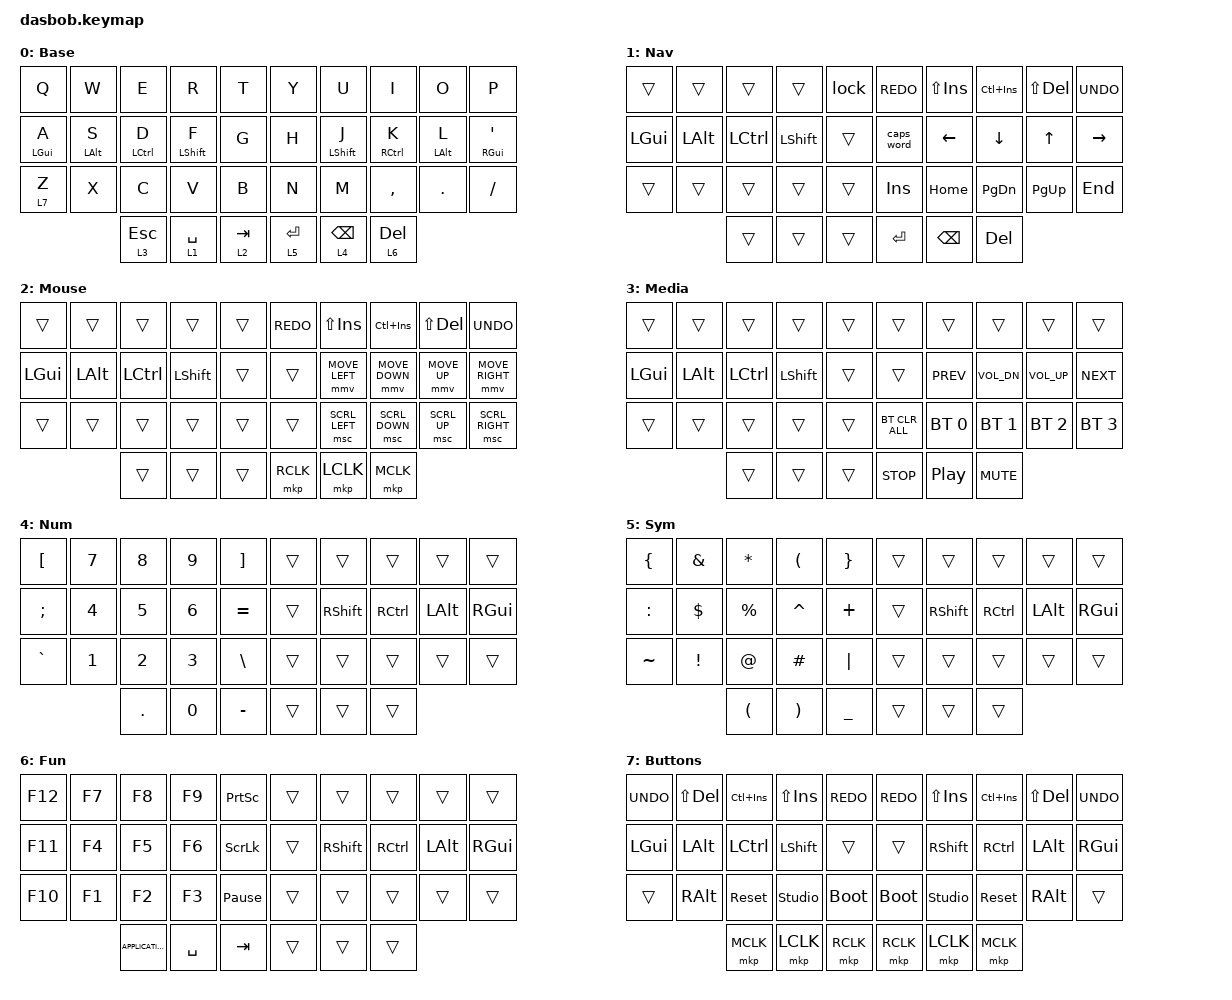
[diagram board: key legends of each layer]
#include <behaviors.dtsi>
#include <dt-bindings/zmk/bt.h>
#include <dt-bindings/zmk/keys.h>
#include <dt-bindings/zmk/pointing.h>

/ {
    macros {
        lock: lock {
            compatible = "zmk,behavior-macro";
            #binding-cells = <0>;
            bindings = <&kp LEFT_GUI &kp L>;
            label = "LOCK";
        };
    };

    keymap {
        compatible = "zmk,keymap";

        // This is a sample keymap intended to be replaced with your own

        Base {
            bindings = <
&kp Q       &kp W       &kp E        &kp R             &kp T      &kp Y        &kp U            &kp I         &kp O       &kp P
&mt LGUI A  &mt LALT S  &mt LCTRL D  &mt LEFT_SHIFT F  &kp G      &kp H        &mt LSHFT J      &mt RCTRL K   &mt LALT L  &mt RGUI SQT
&lt 7 Z     &kp X       &kp C        &kp V             &kp B      &kp N        &kp M            &kp COMMA     &kp DOT     &kp SLASH
                        &lt 3 ESC    &lt 1 SPACE       &lt 2 TAB  &lt 5 ENTER  &lt 4 BACKSPACE  &lt 6 DELETE
            >;
        };

        Nav {
            bindings = <
&trans    &trans    &trans     &trans     &lock   &kp K_REDO  &kp LS(INS)    &kp LC(INS)  &kp LS(DELETE)  &kp K_UNDO
&kp LGUI  &kp LALT  &kp LCTRL  &kp LSHFT  &trans  &caps_word  &kp LEFT       &kp DOWN     &kp UP          &kp RIGHT
&trans    &trans    &trans     &trans     &trans  &kp INS     &kp HOME       &kp PG_DN    &kp PG_UP       &kp END
                    &trans     &trans     &trans  &kp ENTER   &kp BACKSPACE  &kp DEL
            >;
        };

        Mouse {
            bindings = <
&trans    &trans    &trans     &trans     &trans  &kp K_REDO  &kp LS(INS)     &kp LC(INS)     &kp LS(DEL)   &kp K_UNDO
&kp LGUI  &kp LALT  &kp LCTRL  &kp LSHFT  &trans  &trans      &mmv MOVE_LEFT  &mmv MOVE_DOWN  &mmv MOVE_UP  &mmv MOVE_RIGHT
&trans    &trans    &trans     &trans     &trans  &trans      &msc SCRL_LEFT  &msc SCRL_DOWN  &msc SCRL_UP  &msc SCRL_RIGHT
                    &trans     &trans     &trans  &mkp RCLK   &mkp LCLK       &mkp MCLK
            >;
        };

        Media {
            bindings = <
&trans    &trans    &trans     &trans      &trans  &trans          &trans            &trans        &trans        &trans
&kp LGUI  &kp LALT  &kp LCTRL  &kp LSHIFT  &trans  &trans          &kp C_PREV        &kp C_VOL_DN  &kp C_VOL_UP  &kp C_NEXT
&trans    &trans    &trans     &trans      &trans  &bt BT_CLR_ALL  &bt BT_SEL 0      &bt BT_SEL 1  &bt BT_SEL 2  &bt BT_SEL 3
                    &trans     &trans      &trans  &kp K_STOP      &kp C_PLAY_PAUSE  &kp C_MUTE
            >;
        };

        Num {
            bindings = <
&kp LEFT_BRACKET  &kp NUMBER_7  &kp NUMBER_8  &kp NUMBER_9  &kp RIGHT_BRACKET  &trans  &trans     &trans     &trans    &trans
&kp SEMI          &kp NUMBER_4  &kp NUMBER_5  &kp NUMBER_6  &kp EQUAL          &trans  &kp RSHFT  &kp RCTRL  &kp LALT  &kp RGUI
&kp GRAVE         &kp NUMBER_1  &kp NUMBER_2  &kp NUMBER_3  &kp BACKSLASH      &trans  &trans     &trans     &trans    &trans
                                &kp DOT       &kp NUMBER_0  &kp MINUS          &trans  &trans     &trans
            >;
        };

        Sym {
            bindings = <
&kp LEFT_BRACE  &kp AMPERSAND  &kp ASTERISK          &kp LEFT_PARENTHESIS   &kp RIGHT_BRACE  &trans  &trans     &trans     &trans    &trans
&kp COLON       &kp DOLLAR     &kp PERCENT           &kp CARET              &kp PLUS         &trans  &kp RSHFT  &kp RCTRL  &kp LALT  &kp RGUI
&kp TILDE       &kp EXCL       &kp AT                &kp HASH               &kp PIPE         &trans  &trans     &trans     &trans    &trans
                               &kp LEFT_PARENTHESIS  &kp RIGHT_PARENTHESIS  &kp UNDER        &trans  &trans     &trans
            >;
        };

        Fun {
            bindings = <
&kp F12  &kp F7  &kp F8             &kp F9     &kp PRINTSCREEN  &trans  &trans     &trans     &trans    &trans
&kp F11  &kp F4  &kp F5             &kp F6     &kp SCROLLLOCK   &trans  &kp RSHFT  &kp RCTRL  &kp LALT  &kp RGUI
&kp F10  &kp F1  &kp F2             &kp F3     &kp PAUSE_BREAK  &trans  &trans     &trans     &trans    &trans
                 &kp K_APPLICATION  &kp SPACE  &kp TAB          &trans  &trans     &trans
            >;
        };

        Buttons {
            bindings = <
&kp K_UNDO  &kp LS(DEL)  &kp LC(INS)  &kp LS(INS)     &kp K_REDO   &kp K_REDO   &kp LS(INS)     &kp LC(INS)  &kp LS(DEL)  &kp K_UNDO
&kp LGUI    &kp LALT     &kp LCTRL    &kp LSHFT       &trans       &trans       &kp RSHFT       &kp RCTRL    &kp LALT     &kp RGUI
&trans      &kp RALT     &sys_reset   &studio_unlock  &bootloader  &bootloader  &studio_unlock  &sys_reset   &kp RALT     &trans
                         &mkp MCLK    &mkp LCLK       &mkp RCLK    &mkp RCLK    &mkp LCLK       &mkp MCLK
            >;
        };
    };
};
